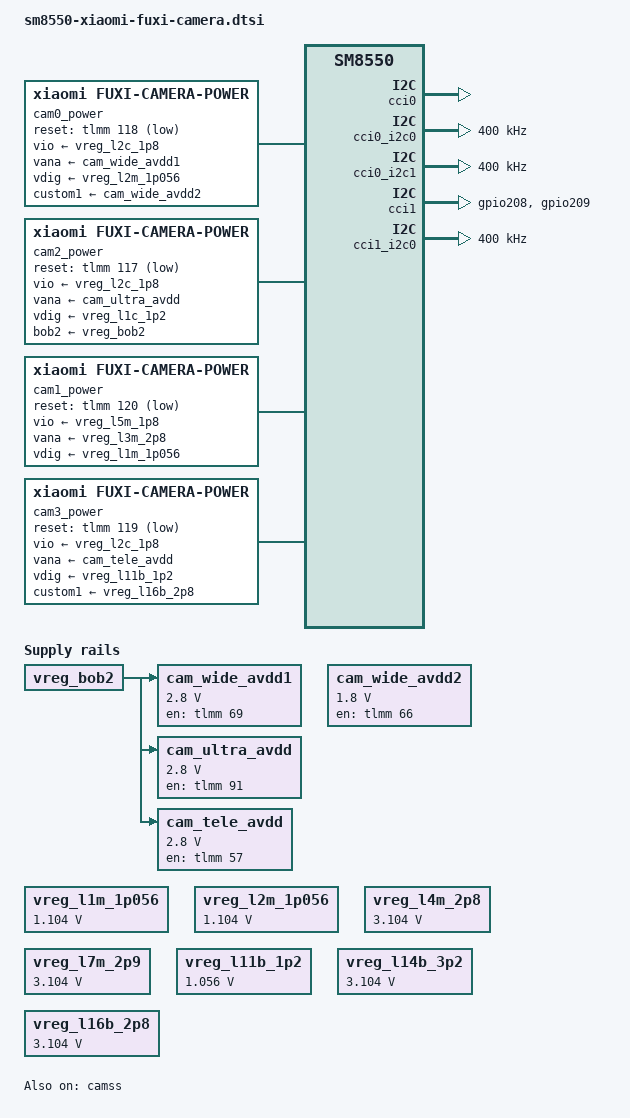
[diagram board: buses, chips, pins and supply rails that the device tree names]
// SPDX-License-Identifier: BSD-3-Clause
/*
 * Xiaomi 13 (fuxi)：相机第一步——给四个模组上电并用 CCI（i2c-dev）读传感器 ID。
 * 全部取自厂商 DTB（work/device-info/fuxi-live.dts 的 qcom,cci0/1 与 qcom,cam-sensor0..3）：
 *
 *   模组        CCI          MCLK            复位      CSIPHY  供电（厂商名 → 主线）
 *   cam0 主摄   cci0 主机1   MCLK2 GPIO102   GPIO118   2       vio L2C 1.8、vana GPIO69 开关 2.8、vdig L2M 1.104、
 *               （带 OIS/马达/EEPROM）                            custom1 GPIO66 开关 1.8、custom2 L7M 3.1、vaf L4M 3.1、BOB2
 *   cam2 超广角 cci0 主机0   MCLK1 GPIO101   GPIO117   0       vio L2C、vana GPIO91 开关 2.8、vdig L1C 1.2、BOB2
 *   cam1 前摄   cci1 主机1   MCLK4 GPIO104   GPIO120   4       vio L5M 1.8、vana L3M 2.8、vdig L1M 1.104
 *               （主机1 走 AON CCI 引脚 GPIO208/209）
 *   cam3 长焦   cci1 主机0   MCLK3 GPIO103   GPIO119   ?       vio L2C、vana GPIO57 开关 2.8、vdig L11B 1.056、
 *               （带 OIS）                                        custom1 L16B 3.1、vaf L14B 3.1、BOB2、BOB1
 *
 * 电压按厂商 rgltr-min/max-voltage 改写主线 DTS 里（从 MTP 抄来的）几路 LDO 的范围；这些 LDO 在别的 DTS 里都没有用户。
 * 上电/读 ID 用测试驱动 drivers/misc/fuxi-camera-power.c（sysfs power），脚本 scripts/fuxi-camera-probe.sh。
 * 传感器型号确定后再写/移植传感器驱动，接 CAMSS（主线已支持 sm8550-camss）。
 */

/ {
	cam_wide_avdd1: regulator-cam-wide-avdd1 {
		compatible = "regulator-fixed";
		regulator-name = "cam_wide_avdd1";
		regulator-min-microvolt = <2800000>;
		regulator-max-microvolt = <2800000>;
		gpio = <&tlmm 69 GPIO_ACTIVE_HIGH>;
		enable-active-high;
		vin-supply = <&vreg_bob2>;
	};

	cam_wide_avdd2: regulator-cam-wide-avdd2 {
		compatible = "regulator-fixed";
		regulator-name = "cam_wide_avdd2";
		regulator-min-microvolt = <1800000>;
		regulator-max-microvolt = <1800000>;
		gpio = <&tlmm 66 GPIO_ACTIVE_HIGH>;
		enable-active-high;
	};

	cam_ultra_avdd: regulator-cam-ultra-avdd {
		compatible = "regulator-fixed";
		regulator-name = "cam_ultra_avdd";
		regulator-min-microvolt = <2800000>;
		regulator-max-microvolt = <2800000>;
		gpio = <&tlmm 91 GPIO_ACTIVE_HIGH>;
		enable-active-high;
		vin-supply = <&vreg_bob2>;
	};

	cam_tele_avdd: regulator-cam-tele-avdd {
		compatible = "regulator-fixed";
		regulator-name = "cam_tele_avdd";
		regulator-min-microvolt = <2800000>;
		regulator-max-microvolt = <2800000>;
		gpio = <&tlmm 57 GPIO_ACTIVE_HIGH>;
		enable-active-high;
		vin-supply = <&vreg_bob2>;
	};

	cam0_power: camera-power-cam0 {
		compatible = "xiaomi,fuxi-camera-power";
		supply-names = "vio", "vana", "vdig", "custom1", "custom2", "vaf", "bob2";
		vio-supply = <&vreg_l2c_1p8>;
		vana-supply = <&cam_wide_avdd1>;
		vdig-supply = <&vreg_l2m_1p056>;
		custom1-supply = <&cam_wide_avdd2>;
		custom2-supply = <&vreg_l7m_2p9>;
		vaf-supply = <&vreg_l4m_2p8>;
		bob2-supply = <&vreg_bob2>;
		clocks = <&camcc CAM_CC_MCLK2_CLK>;
		reset-gpios = <&tlmm 118 GPIO_ACTIVE_LOW>;
		pinctrl-0 = <&cam_mclk2_default>;
		pinctrl-names = "default";
	};

	cam2_power: camera-power-cam2 {
		compatible = "xiaomi,fuxi-camera-power";
		supply-names = "vio", "vana", "vdig", "bob2";
		vio-supply = <&vreg_l2c_1p8>;
		vana-supply = <&cam_ultra_avdd>;
		vdig-supply = <&vreg_l1c_1p2>;
		bob2-supply = <&vreg_bob2>;
		clocks = <&camcc CAM_CC_MCLK1_CLK>;
		reset-gpios = <&tlmm 117 GPIO_ACTIVE_LOW>;
		pinctrl-0 = <&cam_mclk1_default>;
		pinctrl-names = "default";
	};

	cam1_power: camera-power-cam1 {
		compatible = "xiaomi,fuxi-camera-power";
		supply-names = "vio", "vana", "vdig";
		vio-supply = <&vreg_l5m_1p8>;
		vana-supply = <&vreg_l3m_2p8>;
		vdig-supply = <&vreg_l1m_1p056>;
		clocks = <&camcc CAM_CC_MCLK4_CLK>;
		reset-gpios = <&tlmm 120 GPIO_ACTIVE_LOW>;
		pinctrl-0 = <&cam_mclk4_default>;
		pinctrl-names = "default";
	};

	cam3_power: camera-power-cam3 {
		compatible = "xiaomi,fuxi-camera-power";
		supply-names = "vio", "vana", "vdig", "custom1", "vaf", "bob2", "bob1";
		vio-supply = <&vreg_l2c_1p8>;
		vana-supply = <&cam_tele_avdd>;
		vdig-supply = <&vreg_l11b_1p2>;
		custom1-supply = <&vreg_l16b_2p8>;
		vaf-supply = <&vreg_l14b_3p2>;
		bob2-supply = <&vreg_bob2>;
		bob1-supply = <&vreg_bob1>;
		clocks = <&camcc CAM_CC_MCLK3_CLK>;
		reset-gpios = <&tlmm 119 GPIO_ACTIVE_LOW>;
		pinctrl-0 = <&cam_mclk3_default>;
		pinctrl-names = "default";
	};
};

&apps_rsc {
	/* PM8550VS "c"：厂商 pm_v6c_l1（1.2 V）、pm_v6c_l2（1.8 V），主 DTS 只写了 L3C（cmd-db 里有 ldoc1/ldoc2） */
	regulators-1 {
		vreg_l1c_1p2: ldo1 {
			regulator-name = "vreg_l1c_1p2";
			regulator-min-microvolt = <1200000>;
			regulator-max-microvolt = <1200000>;
			regulator-initial-mode = <RPMH_REGULATOR_MODE_HPM>;
		};

		vreg_l2c_1p8: ldo2 {
			regulator-name = "vreg_l2c_1p8";
			regulator-min-microvolt = <1800000>;
			regulator-max-microvolt = <1800000>;
			regulator-initial-mode = <RPMH_REGULATOR_MODE_HPM>;
		};
	};
};

/* 按厂商相机供电的电压改写（标签名沿用主 DTS，电压以这里为准） */
&vreg_l1m_1p056 {
	regulator-min-microvolt = <1104000>;
	regulator-max-microvolt = <1104000>;
};

&vreg_l2m_1p056 {
	regulator-min-microvolt = <1104000>;
	regulator-max-microvolt = <1104000>;
};

&vreg_l4m_2p8 {
	regulator-min-microvolt = <3104000>;
	regulator-max-microvolt = <3104000>;
};

&vreg_l7m_2p9 {
	regulator-min-microvolt = <3104000>;
	regulator-max-microvolt = <3104000>;
};

&vreg_l11b_1p2 {
	regulator-min-microvolt = <1056000>;
	regulator-max-microvolt = <1056000>;
};

&vreg_l14b_3p2 {
	regulator-min-microvolt = <3104000>;
	regulator-max-microvolt = <3104000>;
};

&vreg_l16b_2p8 {
	regulator-min-microvolt = <3104000>;
	regulator-max-microvolt = <3104000>;
};

&cci0 {
	status = "okay";
};

&cci0_i2c0 {
	clock-frequency = <400000>;
};

&cci0_i2c1 {
	clock-frequency = <400000>;
};

&cci1 {
	pinctrl-0 = <&cci1_0_default>, <&cci1_1_aon_default>;
	pinctrl-1 = <&cci1_0_sleep>, <&cci1_1_aon_sleep>;
	status = "okay";

	/* 前摄在 CCI1 主机 1（厂商 cci1 m1_active：AON CCI，GPIO208/209） */
	cci1_i2c1: i2c-bus@1 {
		reg = <1>;
		clock-frequency = <400000>;
		#address-cells = <1>;
		#size-cells = <0>;
	};
};

&cci1_i2c0 {
	clock-frequency = <400000>;
};

&tlmm {
	cci1_1_aon_default: cci1-1-aon-default-state {
		pins = "gpio208", "gpio209";
		function = "aon_cci";
		drive-strength = <2>;
		bias-pull-up;
	};

	cci1_1_aon_sleep: cci1-1-aon-sleep-state {
		pins = "gpio208", "gpio209";
		function = "aon_cci";
		drive-strength = <2>;
		bias-pull-down;
	};

	cam_mclk1_default: cam-mclk1-default-state {
		pins = "gpio101";
		function = "cam_mclk";
		drive-strength = <2>;
		bias-disable;
	};

	cam_mclk2_default: cam-mclk2-default-state {
		pins = "gpio102";
		function = "cam_mclk";
		drive-strength = <2>;
		bias-disable;
	};

	cam_mclk3_default: cam-mclk3-default-state {
		pins = "gpio103";
		function = "cam_mclk";
		drive-strength = <2>;
		bias-disable;
	};

	cam_mclk4_default: cam-mclk4-default-state {
		pins = "gpio104";
		function = "cam_aon_mclk4";
		drive-strength = <2>;
		bias-disable;
	};
};

/*
 * CAMSS（CSIPHY/CSID/VFE）：先只打开、不接传感器端点，验证 camcc/GDSC/互连/供电能起来。
 * CSIPHY 供电对应厂商 csi-vdd-0p9 = pm_v6e_l1、csi-vdd-1p2 = pm_v6e_l3。
 */
&camss {
	vdda-phy-supply = <&vreg_l1e_0p88>;
	vdda-pll-supply = <&vreg_l3e_1p2>;
	status = "okay";
};
